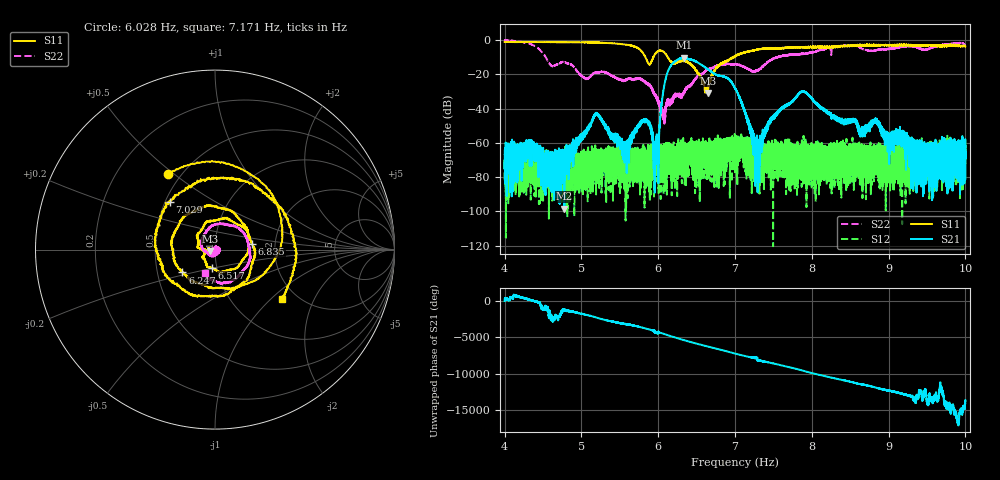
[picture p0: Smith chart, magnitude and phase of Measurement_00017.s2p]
!Created with skrf (http://scikit-rf.org).
# Hz S RI R 50.0
!freq ReS11 ImS11 ReS21 ImS21 ReS12 ImS12 ReS22 ImS22
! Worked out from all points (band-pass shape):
!   14001 points, 4 Hz to 10 Hz, reference 50 ohm
!   highest |S21| = -10.26 dB at 6.338 Hz (marker M1); lowest = -98.3 dB at 4.778 Hz (marker M2)
!   |S21| within 3 dB of the highest: 6.196 Hz to 6.522 Hz (325.2 mHz wide, 5.11 % of centre); 6.52181 Hz to 6.522494 Hz (684.2 uHz wide, 0.0105 % of centre)
!   lowest |S11| = -30.8 dB at 6.645 Hz (marker M3), VSWR 1.06, Z = 47.3 - j0.666 ohm
!   |S11| at or under -10 dB: 5.834 Hz to 5.936 Hz (102.3 mHz wide, 1.74 % of centre); 6.124 Hz to 6.977 Hz (853.2 mHz wide, 13 % of centre); 6.977296 Hz to 6.980248 Hz (2.951 mHz wide, 0.0423 % of centre)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
!   |S22| runs from -48.8 to -0.2 dB; largest |S21 - S12| = 0.31
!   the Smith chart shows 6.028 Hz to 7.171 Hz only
!   S11 on the Smith chart (normalised r, x): 6.028 Hz: 0.43, +0.48; 6.247 Hz: 0.67, -0.18; 6.517 Hz: 0.95, -0.19; 6.835 Hz: 1.52, +0.10; 7.029 Hz: 0.53, +0.33; 7.171 Hz: 1.68, -1.17
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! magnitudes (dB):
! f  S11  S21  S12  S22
! 4 Hz  -1.1  -70.5  -73.7  -0.2
! 4.778 Hz  -1.2  -98.3  -71.2  -12.8
! 5 Hz  -1.3  -58.6  -74.6  -20.8
! 5.198 Hz  -1.4  -43.4  -76.3  -18.7
! 5.564 Hz  -2.5  -63.6  -73.3  -23.7
! 5.813 Hz  -8.2  -46.6  -72.5  -23.8
! 6 Hz  -6.4  -67.3  -70.3  -35.4
! 6.028 Hz  -6.1  -44.1  -68.0  -39.0
! 6.108 Hz  -8.8  -20.7  -62.7  -38.0
! 6.247 Hz  -13.1  -11.6  -64.1  -32.3
! 6.338 Hz  -12.2  -10.3  -60.6  -30.8
! 6.517 Hz  -19.8  -13.1  -74.1  -21.0
! 6.645 Hz  -30.8  -16.9  -68.0  -17.1
! 6.835 Hz  -13.6  -21.0  -63.4  -14.4
! 7 Hz  -9.4  -28.0  -62.2  -14.0
! 7.029 Hz  -8.7  -30.5  -63.1  -14.1
! 7.171 Hz  -6.7  -47.3  -64.5  -16.9
! 7.297 Hz  -5.5  -63.2  -69.7  -17.7
! 7.585 Hz  -4.8  -40.7  -67.4  -9.4
! 8 Hz  -4.2  -34.0  -72.9  -6.9
! 9 Hz  -3.0  -56.5  -62.0  -5.1
! 10 Hz  -3.7  -65.0  -65.7  -3.1
